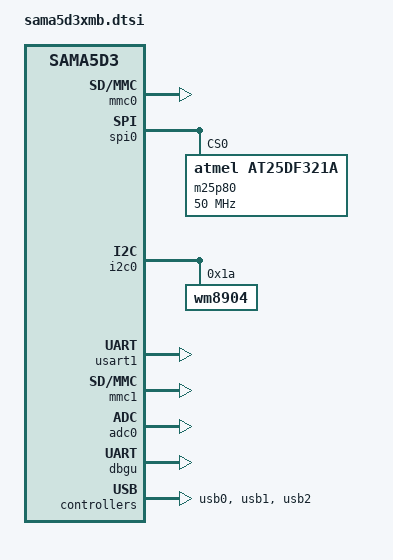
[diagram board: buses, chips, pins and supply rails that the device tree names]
/*
 * sama5d3xmb.dts - Device Tree file for SAMA5D3x mother board
 *
 *  Copyright (C) 2013 Atmel,
 *                2013 Ludovic Desroches <ludovic.desroches@atmel.com>
 *
 * Licensed under GPLv2 or later.
 */
#include "sama5d3xcm.dtsi"

/ {
	compatible = "atmel,sama5d3xmb", "atmel,sama5d3xcm", "atmel,sama5d3", "atmel,sama5";

	ahb {
		apb {
			mmc0: mmc@f0000000 {
				pinctrl-names = "default";
				pinctrl-0 = <&pinctrl_mmc0_clk_cmd_dat0 &pinctrl_mmc0_dat1_3 &pinctrl_mmc0_cd>;
				status = "okay";
				slot@0 {
					reg = <0>;
					bus-width = <4>;
					cd-gpios = <&pioD 17 GPIO_ACTIVE_HIGH>;
				};
			};

			spi0: spi@f0004000 {
				m25p80@0 {
					compatible = "atmel,at25df321a";
					spi-max-frequency = <50000000>;
					reg = <0>;
				};
			};

			/*
			 * i2c0 conflicts with ISI:
			 * disable it to allow the use of ISI
			 * can not enable audio when i2c0 disabled
			 */
			i2c0: i2c@f0014000 {
				wm8904: wm8904@1a {
					compatible = "wm8904";
					reg = <0x1a>;
				};
			};

			usart1: serial@f0020000 {
				pinctrl-names = "default";
				pinctrl-0 = <&pinctrl_usart1 &pinctrl_usart1_rts_cts>;
				status = "okay";
			};

			isi: isi@f0034000 {
				pinctrl-names = "default";
				pinctrl-0 = <&pinctrl_isi &pinctrl_isi_pck_as_mck &pinctrl_isi_power &pinctrl_isi_reset>;
			};

			mmc1: mmc@f8000000 {
				pinctrl-names = "default";
				pinctrl-0 = <&pinctrl_mmc1_clk_cmd_dat0 &pinctrl_mmc1_dat1_3 &pinctrl_mmc1_cd>;
				status = "okay";
				slot@0 {
					reg = <0>;
					bus-width = <4>;
					cd-gpios = <&pioD 18 GPIO_ACTIVE_HIGH>;
				};
			};

			adc0: adc@f8018000 {
				pinctrl-names = "default";
				pinctrl-0 = <
					&pinctrl_adc0_adtrg
					&pinctrl_adc0_ad0
					&pinctrl_adc0_ad1
					&pinctrl_adc0_ad2
					&pinctrl_adc0_ad3
					&pinctrl_adc0_ad4
					>;
				status = "okay";
			};

			macb1: ethernet@f802c000 {
				phy-mode = "rmii";
			};

			pinctrl@fffff200 {
				board {
					pinctrl_mmc0_cd: mmc0_cd {
						atmel,pins =
							<3 17 0x0 0x5>; /* PD17 GPIO with pullup deglitch */
					};

					pinctrl_mmc1_cd: mmc1_cd {
						atmel,pins =
							<3 18 0x0 0x5>; /* PD18 GPIO with pullup deglitch */
					};

					pinctrl_pck0_as_audio_mck: pck0_as_audio_mck {
						atmel,pins =
							<3 30 0x2 0x0>;	/* PD30 periph B */
					};

					pinctrl_isi_reset: isi_reset-0 {
						atmel,pins =
							<4 24 0x0 0x0>;   /* PE24 gpio */
					};

					pinctrl_isi_power: isi_power-0 {
						atmel,pins =
							<4 29 0x0 0x0>; /* PE29 gpio */
					};

					pinctrl_usba_vbus: usba_vbus {
						atmel,pins =
							<3 29 0x0 0x4>; /* PD29 GPIO with deglitch */
					};
				};
			};

			dbgu: serial@ffffee00 {
				status = "okay";
			};

			watchdog@fffffe40 {
				status = "okay";
			};
		};

		usb0: gadget@00500000 {
			atmel,vbus-gpio = <&pioD 29 GPIO_ACTIVE_HIGH>;
			pinctrl-names = "default";
			pinctrl-0 = <&pinctrl_usba_vbus>;
			status = "okay";
		};

		usb1: ohci@00600000 {
			num-ports = <3>;
			atmel,vbus-gpio = <&pioD 25 GPIO_ACTIVE_HIGH
					   &pioD 26 GPIO_ACTIVE_LOW
					   &pioD 27 GPIO_ACTIVE_LOW
					  >;
			status = "okay";
		};

		usb2: ehci@00700000 {
			status = "okay";
		};
	};

	sound {
		compatible = "atmel,sama5d3ek-wm8904";
		pinctrl-names = "default";
		pinctrl-0 = <&pinctrl_pck0_as_audio_mck>;

		atmel,model = "wm8904 @ SAMA5D3EK";
		atmel,audio-routing =
			"Headphone Jack", "HPOUTL",
			"Headphone Jack", "HPOUTR",
			"IN2L", "Line In Jack",
			"IN2R", "Line In Jack",
			"IN1L", "Mic";

		atmel,ssc-controller = <&ssc0>;
		atmel,audio-codec = <&wm8904>;
	};
};
